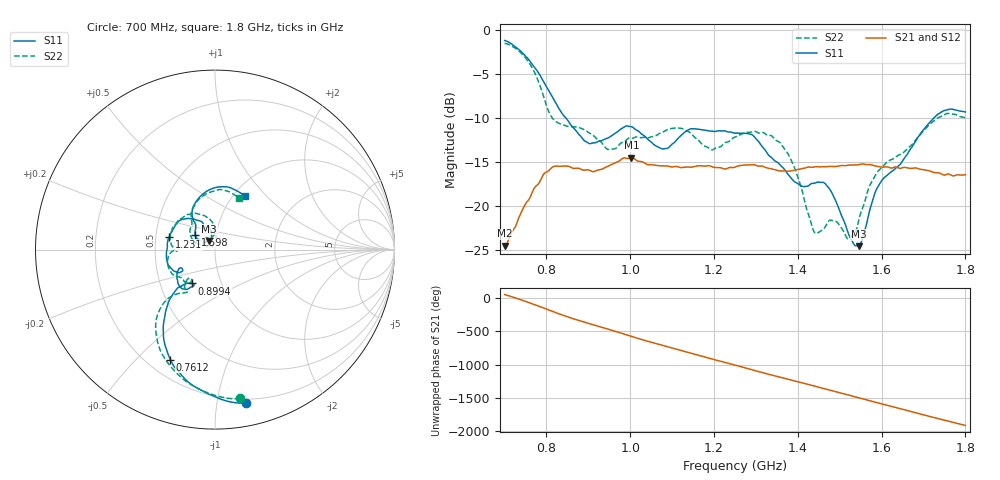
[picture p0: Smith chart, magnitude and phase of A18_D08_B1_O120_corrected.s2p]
! Created with skrf 1.9.0 (http://scikit-rf.org).
# Hz S RI R 50.0
!freq ReS11 ImS11 ReS21 ImS21 ReS12 ImS12 ReS22 ImS22
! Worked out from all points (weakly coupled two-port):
!   1601 points, 700 MHz to 1.8 GHz, reference 50 ohm
!   highest |S21| = -14.51 dB at 1.002 GHz (marker M1); lowest = -24.5 dB at 700 MHz (marker M2)
!   lowest |S11| = -24.6 dB at 1.546 GHz (marker M3), VSWR 1.13, Z = 46.5 + j4.54 ohm
!   |S11| at or under -10 dB: 846.3 MHz to 1.724 GHz (878.2 MHz wide, 68.3 % of centre)
!   |S22| runs from -23.8 to -1.5 dB; largest |S21 - S12| = 0.0036
!   S11 on the Smith chart (normalised r, x): 700 MHz: 0.17, -1.21; 761.2 MHz: 0.29, -0.63; 899.4 MHz: 0.72, -0.29; 1.231 GHz: 0.59, +0.09; 1.598 GHz: 0.79, +0.13; 1.8 GHz: 1.12, +0.76
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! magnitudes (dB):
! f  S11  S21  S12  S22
! 700 MHz  -1.2  -24.5  -24.3  -1.5
! 761.2 MHz  -3.6  -19.0  -18.9  -3.9
! 815.5 MHz  -7.7  -15.5  -15.6  -10.1
! 883.6 MHz  -12.2  -15.9  -15.7  -11.2
! 899.4 MHz  -12.8  -15.9  -15.9  -11.6
! 948.9 MHz  -12.2  -15.4  -15.4  -13.6
! 1.002 GHz  -11.0  -14.5  -14.6  -12.3
! 1.067 GHz  -13.3  -15.4  -15.4  -11.8
! 1.145 GHz  -11.2  -15.6  -15.6  -11.7
! 1.194 GHz  -11.5  -15.5  -15.5  -13.6
! 1.231 GHz  -11.6  -15.7  -15.7  -12.7
! 1.25 GHz  -11.7  -15.6  -15.5  -12.2
! 1.359 GHz  -15.4  -16.0  -16.0  -12.9
! 1.393 GHz  -17.3  -15.9  -15.9  -15.8
! 1.434 GHz  -17.4  -15.6  -15.6  -22.3
! 1.473 GHz  -17.9  -15.5  -15.5  -21.7
! 1.522 GHz  -23.3  -15.4  -15.4  -23.8
! 1.546 GHz  -24.6  -15.3  -15.3  -21.6
! 1.598 GHz  -17.3  -15.6  -15.5  -15.8
! 1.617 GHz  -16.3  -15.6  -15.6  -14.9
! 1.733 GHz  -9.6  -16.2  -16.3  -10.0
! 1.8 GHz  -9.3  -16.4  -16.4  -10.0
